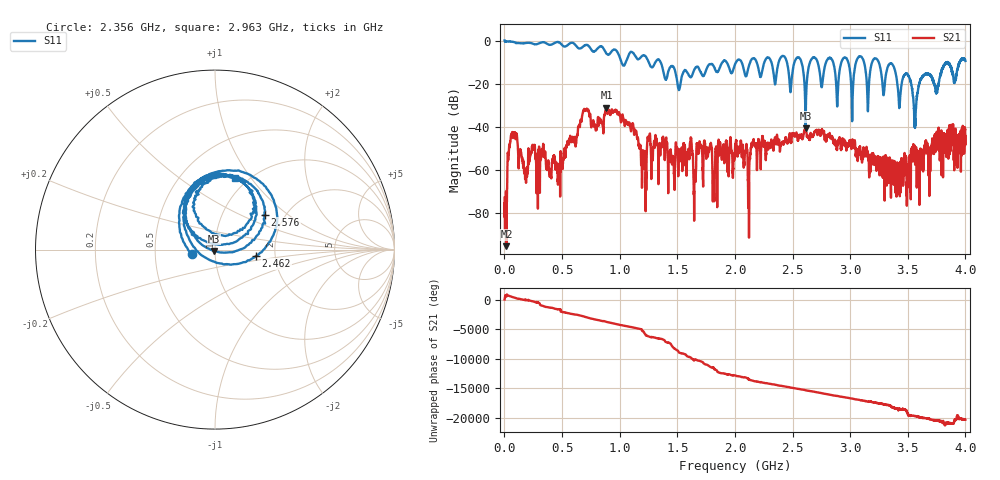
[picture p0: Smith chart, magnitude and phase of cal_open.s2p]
!Created with skrf (http://scikit-rf.org).
# GHz S RI R 50.0
!freq ReS11 ImS11 ReS21 ImS21 ReS12 ImS12 ReS22 ImS22
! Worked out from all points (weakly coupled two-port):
!   4000 points, 1 MHz to 4 GHz, reference 50 ohm
!   highest |S21| = -30.88 dB at 885 MHz (marker M1); lowest = -95.6 dB at 17 MHz (marker M2)
!   lowest |S11| = -40.6 dB at 2.613 GHz (marker M3), VSWR 1.02, Z = 49.5 - j0.793 ohm
!   |S11| at or under -10 dB: 1.358 GHz to 1.888 GHz (529.7 MHz wide, 32.6 % of centre); 3.25 GHz to 3.829 GHz (579.3 MHz wide, 16.4 % of centre); 3.854 GHz to 3.948 GHz (93.5 MHz wide, 2.4 % of centre) (the widest 3 of 21)
!   S12 and S22 are empty: the file has one direction only
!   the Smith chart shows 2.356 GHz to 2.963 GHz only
!   S11 on the Smith chart (normalised r, x): 2.356 GHz: 0.77, -0.04; 2.462 GHz: 1.59, -0.12; 2.576 GHz: 1.59, +0.70; 2.963 GHz: 0.87, +0.84
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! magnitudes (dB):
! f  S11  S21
! 1 MHz  0.5  -73.0
! 17 MHz  -0.1  -95.6
! 74 MHz  -0.2  -45.1
! 182 MHz  -0.8  -63.4
! 472 MHz  -0.4  -58.6
! 668 MHz  -3.0  -37.5
! 885 MHz  -5.7  -30.9
! 1.212 GHz  -6.4  -59.5
! 1.334 GHz  -8.4  -53.9
! 2.001 GHz  -10.6  -49.3
! 2.356 GHz  -17.6  -47.8
! 2.462 GHz  -12.7  -46.5
! 2.576 GHz  -9.4  -43.3
! 2.613 GHz  -40.6  -40.8
! 2.667 GHz  -8.1  -44.1
! 2.888 GHz  -30.3  -48.7
! 2.963 GHz  -7.7  -48.8
! 3.017 GHz  -37.2  -47.3
! 3.079 GHz  -7.0  -51.6
! 3.334 GHz  -11.1  -60.6
! 3.563 GHz  -40.4  -50.5
! 4 GHz  -9.1  -44.2
